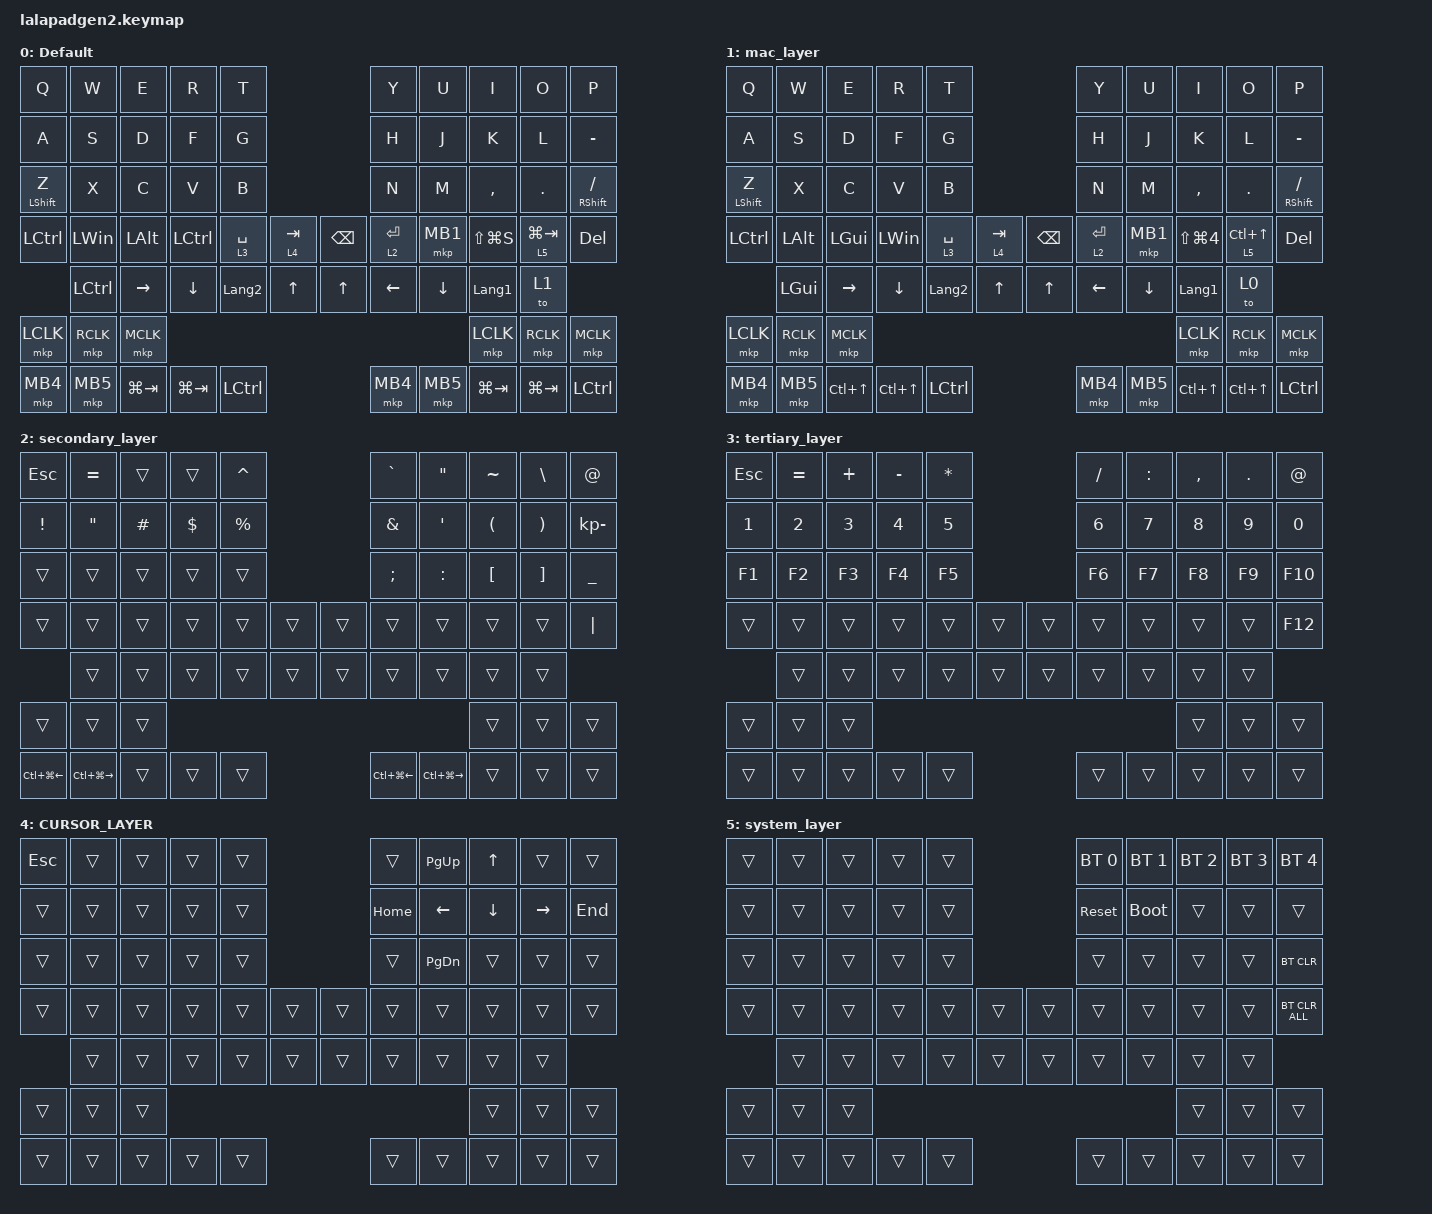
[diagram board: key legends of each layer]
#include <input/processors.dtsi>
#include <dt-bindings/zmk/zip_dynamic_scale.h>
#include <behaviors.dtsi>
#include <dt-bindings/zmk/bt.h>
#include <dt-bindings/zmk/keys.h>
#include <dt-bindings/zmk/pointing.h>

#define DEFAULT_LAYER   0
#define SECONDARY_LAYER 1
#define TERTIARY_LAYER  2
#define SYSTEM_LAYER    3

&mt { quick-tap-ms = <200>; };

&lt { quick-tap-ms = <200>; };

/ {
    behaviors {
        zip_dyn_scale: zip_dyn_scale {
            compatible = "zmk,behavior-zip-dynamic-scale";
            #binding-cells = <2>;
        };

        zip_dyn_scale_set: zip_dyn_scale_set {
            compatible = "zmk,behavior-zip-dynamic-scale-set";
            #binding-cells = <2>;
        };

        mt2: mod_tap2 {
            compatible = "zmk,behavior-hold-tap";
            #binding-cells = <2>;
            flavor = "tap-preferred";
            tapping-term-ms = <200>;
            quick-tap-ms = <200>;
            require-prior-idle-ms = <125>;
            bindings = <&kp>, <&kp>;
        };

        tap_dance_layer_1and2: tap_dance_layer_1and2 {
            compatible = "zmk,behavior-tap-dance";
            label = "td_mo12";
            #binding-cells = <0>;
            bindings = <&mo 2>, <&mo 3>;
        };
    };

    combos { compatible = "zmk,combos"; };

    keymap {
        compatible = "zmk,keymap";

        WINDOWS_LAYER {
            display-name = "Default";
            bindings = <
&kp Q              &kp W             &kp E         &kp R        &kp T                                     &kp Y        &kp U     &kp I           &kp O          &kp P
&kp A              &kp S             &kp D         &kp F        &kp G                                     &kp H        &kp J     &kp K           &kp L          &kp MINUS
&mt2 LEFT_SHIFT Z  &kp X             &kp C         &kp V        &kp B                                     &kp N        &kp M     &kp COMMA       &kp PERIOD     &mt RIGHT_SHIFT SLASH
&kp LCTRL          &kp LWIN          &kp LEFT_ALT  &kp LCTRL    &lt 3 SPACE     &lt 4 TAB  &kp BACKSPACE  &lt 2 ENTER  &mkp MB1  &kp LS(LG(S))   &lt 5 LG(TAB)  &kp DELETE
                   &kp LEFT_CONTROL  &kp RIGHT     &kp DOWN     &kp LANGUAGE_2  &kp UP     &kp UP         &kp LEFT     &kp DOWN  &kp LANGUAGE_1  &to 1
&mkp LCLK          &mkp RCLK         &mkp MCLK                                                                                   &mkp LCLK       &mkp RCLK      &mkp MCLK
&mkp MB4           &mkp MB5          &kp LG(TAB)   &kp LG(TAB)  &kp LCTRL                                 &mkp MB4     &mkp MB5  &kp LG(TAB)     &kp LG(TAB)    &kp LCTRL
            >;
        };

        MAC_LAYER {
            bindings = <
&kp Q              &kp W         &kp E             &kp R             &kp T                                     &kp Y        &kp U     &kp I                 &kp O               &kp P
&kp A              &kp S         &kp D             &kp F             &kp G                                     &kp H        &kp J     &kp K                 &kp L               &kp MINUS
&mt2 LEFT_SHIFT Z  &kp X         &kp C             &kp V             &kp B                                     &kp N        &kp M     &kp COMMA             &kp PERIOD          &mt RIGHT_SHIFT SLASH
&kp LCTRL          &kp LEFT_ALT  &kp LEFT_GUI      &kp LEFT_WIN      &lt 3 SPACE     &lt 4 TAB  &kp BACKSPACE  &lt 2 ENTER  &mkp MB1  &kp LS(LG(NUMBER_4))  &lt 5 LC(UP_ARROW)  &kp DELETE
                   &kp LEFT_GUI  &kp RIGHT         &kp DOWN          &kp LANGUAGE_2  &kp UP     &kp UP         &kp LEFT     &kp DOWN  &kp LANGUAGE_1        &to 0
&mkp LCLK          &mkp RCLK     &mkp MCLK                                                                                            &mkp LCLK             &mkp RCLK           &mkp MCLK
&mkp MB4           &mkp MB5      &kp LC(UP_ARROW)  &kp LC(UP_ARROW)  &kp LCTRL                                 &mkp MB4     &mkp MB5  &kp LC(UP_ARROW)      &kp LC(UP_ARROW)    &kp LCTRL
            >;

            label = "mac_layer";
        };

        SYMBOLS_LAYER {
            display-name = "secondary_layer";
            bindings = <
&kp ESCAPE        &kp EQUAL          &trans    &trans      &kp CARET                    &kp GRAVE         &kp DOUBLE_QUOTES  &kp TILDE             &kp BACKSLASH          &kp AT_SIGN
&kp EXCLAMATION   &kp DOUBLE_QUOTES  &kp HASH  &kp DOLLAR  &kp PERCENT                  &kp AMPERSAND     &kp SQT            &kp LEFT_PARENTHESIS  &kp RIGHT_PARENTHESIS  &kp KP_MINUS
&trans            &trans             &trans    &trans      &trans                       &kp SEMICOLON     &kp COLON          &kp LEFT_BRACKET      &kp RIGHT_BRACKET      &kp UNDERSCORE
&trans            &trans             &trans    &trans      &trans       &trans  &trans  &trans            &trans             &trans                &trans                 &kp PIPE
                  &trans             &trans    &trans      &trans       &trans  &trans  &trans            &trans             &trans                &trans
&trans            &trans             &trans                                                                                  &trans                &trans                 &trans
&kp LC(LG(LEFT))  &kp LC(LG(RIGHT))  &trans    &trans      &trans                       &kp LC(LG(LEFT))  &kp LC(LG(RIGHT))  &trans                &trans                 &trans
            >;
        };

        NUM-FUNC_LAYER {
            display-name = "tertiary_layer";
            bindings = <
&kp ESCAPE    &kp EQUAL     &kp PLUS      &kp MINUS     &kp ASTERISK                  &kp SLASH     &kp COLON     &kp COMMA     &kp PERIOD    &kp AT_SIGN
&kp NUMBER_1  &kp NUMBER_2  &kp NUMBER_3  &kp NUMBER_4  &kp NUMBER_5                  &kp NUMBER_6  &kp NUMBER_7  &kp NUMBER_8  &kp NUMBER_9  &kp NUMBER_0
&kp F1        &kp F2        &kp F3        &kp F4        &kp F5                        &kp F6        &kp F7        &kp F8        &kp F9        &kp F10
&trans        &trans        &trans        &trans        &trans        &trans  &trans  &trans        &trans        &trans        &trans        &kp F12
              &trans        &trans        &trans        &trans        &trans  &trans  &trans        &trans        &trans        &trans
&trans        &trans        &trans                                                                                &trans        &trans        &trans
&trans        &trans        &trans        &trans        &trans                        &trans        &trans        &trans        &trans        &trans
            >;
        };

        CURSOR_LAYER {
            bindings = <
&kp ESCAPE  &trans  &trans  &trans  &trans                  &trans    &kp PAGE_UP    &kp UP_ARROW    &trans           &trans
&trans      &trans  &trans  &trans  &trans                  &kp HOME  &kp LEFT       &kp DOWN_ARROW  &kp RIGHT_ARROW  &kp END
&trans      &trans  &trans  &trans  &trans                  &trans    &kp PAGE_DOWN  &trans          &trans           &trans
&trans      &trans  &trans  &trans  &trans  &trans  &trans  &trans    &trans         &trans          &trans           &trans
            &trans  &trans  &trans  &trans  &trans  &trans  &trans    &trans         &trans          &trans
&trans      &trans  &trans                                                           &trans          &trans           &trans
&trans      &trans  &trans  &trans  &trans                  &trans    &trans         &trans          &trans           &trans
            >;
        };

        SYSTEM_LAYER {
            display-name = "system_layer";
            bindings = <
&trans  &trans  &trans  &trans  &trans                  &bt BT_SEL 0  &bt BT_SEL 1  &bt BT_SEL 2  &bt BT_SEL 3  &bt BT_SEL 4
&trans  &trans  &trans  &trans  &trans                  &sys_reset    &bootloader   &trans        &trans        &trans
&trans  &trans  &trans  &trans  &trans                  &trans        &trans        &trans        &trans        &bt BT_CLR
&trans  &trans  &trans  &trans  &trans  &trans  &trans  &trans        &trans        &trans        &trans        &bt BT_CLR_ALL
        &trans  &trans  &trans  &trans  &trans  &trans  &trans        &trans        &trans        &trans
&trans  &trans  &trans                                                              &trans        &trans        &trans
&trans  &trans  &trans  &trans  &trans                  &trans        &trans        &trans        &trans        &trans
            >;
        };
    };

    conditional_layers { compatible = "zmk,conditional-layers"; };
};
